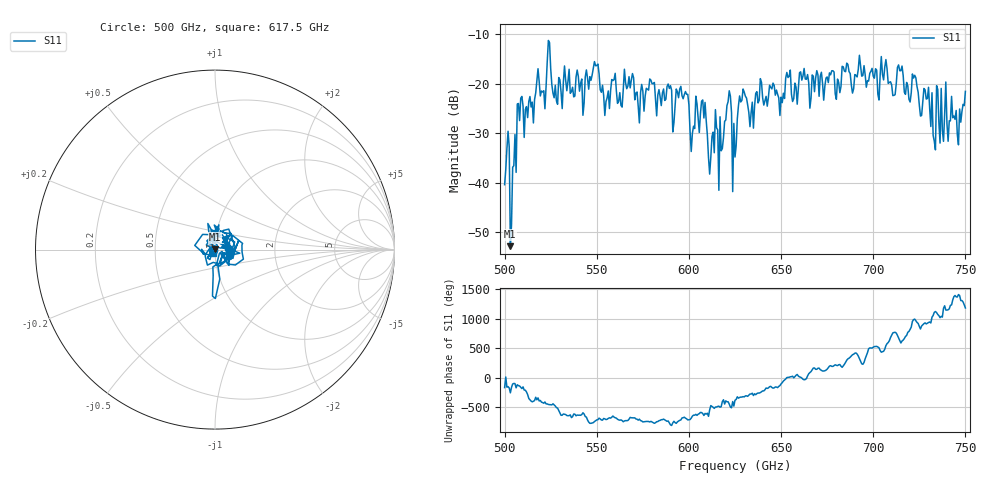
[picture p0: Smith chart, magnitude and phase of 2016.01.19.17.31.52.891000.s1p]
!Created with skrf (http://scikit-rf.org).
# GHz S RI R 50.0
!freq ReS11 ImS11
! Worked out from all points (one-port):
!   401 points, 500 GHz to 750 GHz, reference 50 ohm
!   lowest |S11| = -52.8 dB at 503.1 GHz (marker M1), VSWR 1.00, Z = 49.9 + j0.219 ohm
!   |S11| at or under -10 dB: start of sweep to end of sweep
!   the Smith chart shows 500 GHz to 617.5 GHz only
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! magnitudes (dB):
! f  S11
! 500 GHz  -40.4
! 503.1 GHz  -52.8
! 504.4 GHz  -36.9
! 508.1 GHz  -27.5
! 520.6 GHz  -21.7
! 523.8 GHz  -11.3
! 527.5 GHz  -20.3
! 531.2 GHz  -25.0
! 549.4 GHz  -16.4
! 562.5 GHz  -21.8
! 593.8 GHz  -21.6
! 598.8 GHz  -22.2
! 601.9 GHz  -30.0
! 608.1 GHz  -26.9
! 611.2 GHz  -38.3
! 617.5 GHz  -33.6
! 621.9 GHz  -21.5
! 625 GHz  -34.8
! 628.8 GHz  -23.4
! 656.2 GHz  -23.6
! 687.5 GHz  -18.0
! 714.4 GHz  -17.4
! 718.8 GHz  -20.5
! 728.8 GHz  -23.1
! 732.5 GHz  -30.4
! 735.6 GHz  -27.9
! 746.9 GHz  -25.1
! 750 GHz  -21.6
